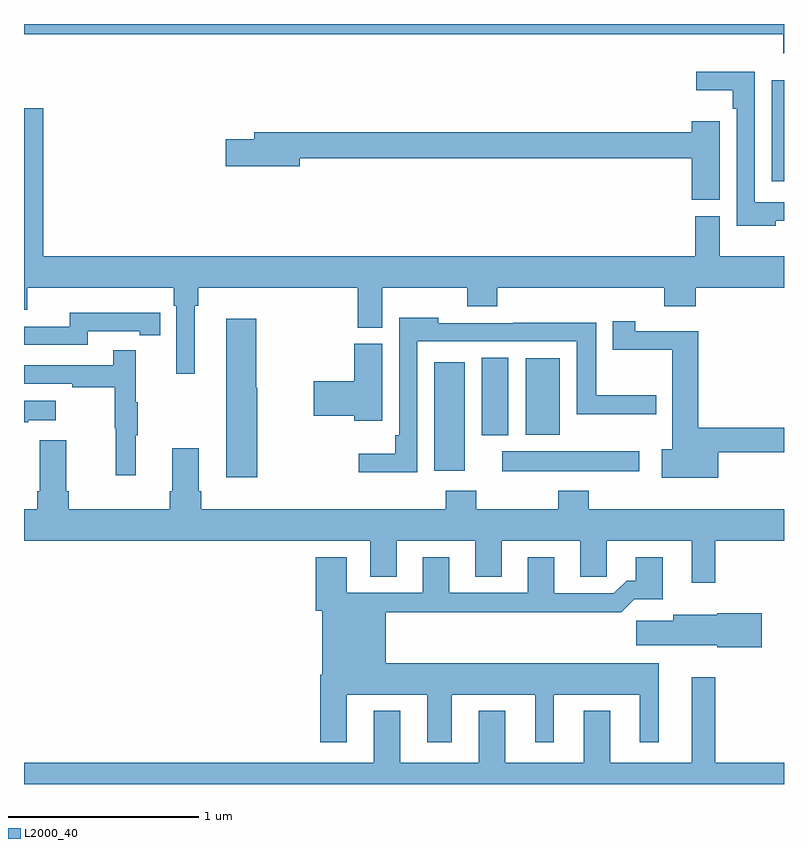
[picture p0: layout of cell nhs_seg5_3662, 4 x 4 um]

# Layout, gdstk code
import gdstk
lib = gdstk.Library(unit=1e-6, precision=1e-09)
def R(c, l, rs):  # rectangles x0, y0, x1, y1
    for r in rs: c.add(gdstk.rectangle(r[:2], r[2:], *l))
def P(c, l, *ps):  # polygons
    for p in ps: c.add(gdstk.Polygon(p, *l))
L2000_40 = (2000, 40)

nhs_seg5_3662 = lib.new_cell('nhs_seg5_3662')
R(nhs_seg5_3662, L2000_40, [(329.517,870.446,330.238,870.55), (329.159,870.447,329.32,871.018), (329.408,870.635,329.548,871.043), (329.642,870.638,329.821,871.039), (330.935,871.971,331,872.503)])
P(nhs_seg5_3662, L2000_40, [(331,872.799),(327,872.799),(327,872.744),(330.995,872.744),(330.995,872.645),(331,872.645)],
  [(330.957,871.764),(331,871.764),(331,871.86),(330.846,871.86),(330.846,872.549),(330.537,872.549),(330.537,872.45),(330.73,872.45),(330.73,872.354),(330.75,872.354),(330.75,871.736),(330.957,871.736)],
  [(327.898,871.316),(327.917,871.316),(327.917,871.412),(328.757,871.412),(328.757,871.201),(328.885,871.201),(328.885,871.412),(329.332,871.412),(329.332,871.313),(329.492,871.313),(329.492,871.412),(330.371,871.412),(330.371,871.313),(330.536,871.313),(330.536,871.412),(331,871.412),(331,871.576),(330.661,871.576),(330.661,871.788),(330.533,871.788),(330.533,871.576),(327.101,871.576),(327.101,872.356),(327,872.356),(327,871.295),(327.016,871.295),(327.016,871.412),(327.788,871.412),(327.788,871.316),(327.801,871.316),(327.801,870.957),(327.898,870.957)],
  [(330.661,872.287),(330.515,872.287),(330.515,872.228),(328.211,872.228),(328.211,872.192),(328.062,872.192),(328.062,872.05),(328.45,872.05),(328.45,872.092),(330.515,872.092),(330.515,871.873),(330.661,871.873)],
  [(327.336,871.182),(327.608,871.182),(327.608,871.162),(327.716,871.162),(327.716,871.278),(327.608,871.278),(327.608,871.279),(327.24,871.279),(327.24,871.206),(327,871.206),(327,871.11),(327.336,871.11)],
  [(329.07,871.128),(329.909,871.128),(329.909,870.746),(330.328,870.746),(330.328,870.846),(330.013,870.846),(330.013,871.226),(329.575,871.226),(329.575,871.224),(329.181,871.224),(329.181,871.252),(328.974,871.252),(328.974,870.634),(328.954,870.634),(328.954,870.538),(328.761,870.538),(328.761,870.44),(329.07,870.44)],
  [(328.228,870.885),(328.223,870.885),(328.223,871.249),(328.064,871.249),(328.064,870.414),(328.228,870.414)],
  [(330.655,870.546),(331,870.546),(331,870.674),(330.548,870.674),(330.548,871.183),(330.216,871.183),(330.216,871.234),(330.098,871.234),(330.098,871.084),(330.413,871.084),(330.413,870.56),(330.357,870.56),(330.357,870.41),(330.655,870.41)],
  [(328.885,871.116),(328.739,871.116),(328.739,870.92),(328.524,870.92),(328.524,870.737),(328.739,870.737),(328.739,870.71),(328.885,870.71)],
  [(327.587,870.635),(327.598,870.635),(327.598,870.809),(327.587,870.809),(327.587,871.081),(327.469,871.081),(327.469,871.002),(327,871.002),(327,870.906),(327.253,870.906),(327.253,870.886),(327.477,870.886),(327.477,870.672),(327.484,870.672),(327.484,870.423),(327.587,870.423)],
  [(327.023,870.713),(327.166,870.713),(327.166,870.817),(327,870.817),(327,870.703),(327.023,870.703)],
  [(329.927,869.89),(330.066,869.89),(330.066,870.08),(330.515,870.08),(330.515,869.859),(330.637,869.859),(330.637,870.08),(331,870.08),(331,870.244),(329.972,870.244),(329.972,870.343),(329.812,870.343),(329.812,870.244),(329.379,870.244),(329.379,870.343),(329.219,870.343),(329.219,870.244),(327.932,870.244),(327.932,870.34),(327.919,870.34),(327.919,870.565),(327.779,870.565),(327.779,870.34),(327.767,870.34),(327.767,870.244),(327.236,870.244),(327.236,870.34),(327.223,870.34),(327.223,870.607),(327.083,870.607),(327.083,870.34),(327.071,870.34),(327.071,870.244),(327,870.244),(327,870.08),(328.823,870.08),(328.823,869.89),(328.963,869.89),(328.963,870.08),(329.375,870.08),(329.375,869.89),(329.515,869.89),(329.515,870.08),(329.927,870.08)],
  [(328.699,869.27),(329.123,869.27),(329.123,869.019),(329.251,869.019),(329.251,869.27),(329.69,869.27),(329.69,869.019),(329.788,869.019),(329.788,869.27),(330.242,869.27),(330.242,869.019),(330.34,869.019),(330.34,869.434),(328.903,869.434),(328.903,869.704),(329.887,869.704),(329.887,869.702),(330.143,869.702),(330.212,869.771),(330.361,869.771),(330.361,869.992),(330.221,869.992),(330.221,869.869),(330.172,869.869),(330.105,869.802),(329.791,869.802),(329.791,869.992),(329.651,869.992),(329.651,869.805),(329.239,869.805),(329.239,869.992),(329.099,869.992),(329.099,869.805),(328.699,869.805),(328.699,869.992),(328.535,869.992),(328.535,869.712),(328.571,869.712),(328.571,869.374),(328.559,869.374),(328.559,869.019),(328.699,869.019)],
  [(330.883,869.697),(330.648,869.697),(330.648,869.689),(330.416,869.689),(330.416,869.657),(330.222,869.657),(330.222,869.528),(330.648,869.528),(330.648,869.519),(330.883,869.519)],
  [(331,868.912),(330.637,868.912),(330.637,869.362),(330.515,869.362),(330.515,868.912),(330.085,868.912),(330.085,869.185),(329.945,869.185),(329.945,868.912),(329.533,868.912),(329.533,869.185),(329.393,869.185),(329.393,868.912),(328.981,868.912),(328.981,869.185),(328.841,869.185),(328.841,868.912),(327,868.912),(327,868.799),(331,868.799)])

lib.write_gds('nhs_seg5_3662.gds')
